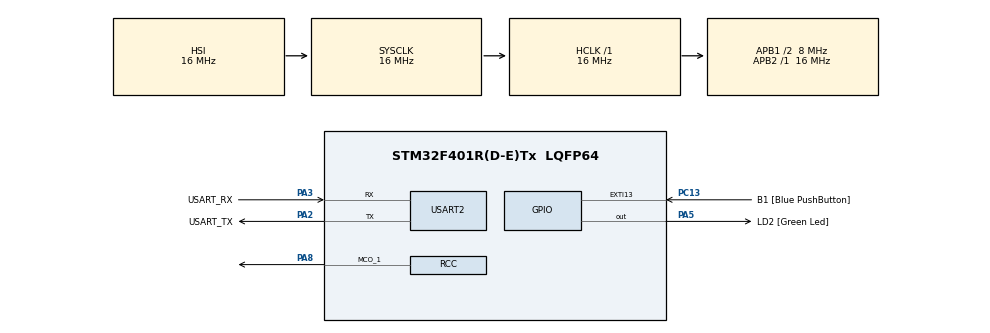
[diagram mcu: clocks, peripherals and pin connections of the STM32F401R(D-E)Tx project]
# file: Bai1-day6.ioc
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Mcu.Family=STM32F4
Mcu.Name=STM32F401R(D-E)Tx
Mcu.Package=LQFP64
NVIC.PriorityGroup=NVIC_PRIORITYGROUP_0
PA13.GPIO_Label=TMS
PA13.Mode=Serial_Wire
PA13.Signal=SYS_JTMS-SWDIO
PA14.GPIO_Label=TCK
PA14.Mode=Serial_Wire
PA14.Signal=SYS_JTCK-SWCLK
PA2.GPIO_Label=USART_TX
PA2.GPIO_Mode=GPIO_MODE_AF_PP
PA2.GPIO_PuPd=GPIO_NOPULL
PA2.GPIO_Speed=GPIO_SPEED_FREQ_LOW
PA2.Mode=Asynchronous
PA2.Signal=USART2_TX
PA3.GPIO_Label=USART_RX
PA3.GPIO_Mode=GPIO_MODE_AF_PP
PA3.GPIO_PuPd=GPIO_NOPULL
PA3.GPIO_Speed=GPIO_SPEED_FREQ_LOW
PA3.Mode=Asynchronous
PA3.Signal=USART2_RX
PA5.GPIO_Label=LD2 [Green Led]
PA5.GPIO_Mode=GPIO_MODE_OUTPUT_PP
PA5.GPIO_PuPd=GPIO_NOPULL
PA5.GPIO_Speed=GPIO_SPEED_FREQ_LOW
PA5.Signal=GPIO_Output
PA8.Mode=Clock-out-1
PA8.Signal=RCC_MCO_1
PB3.GPIO_Label=SWO
PB3.Signal=SYS_JTDO-SWO
PC13-ANTI_TAMP.GPIO_Label=B1 [Blue PushButton]
PC13-ANTI_TAMP.GPIO_ModeDefaultEXTI=GPIO_MODE_IT_FALLING
PC13-ANTI_TAMP.GPIO_PuPd=GPIO_NOPULL
PC13-ANTI_TAMP.Signal=GPXTI13
PC14-OSC32_IN.Mode=LSE-External-Oscillator
PC14-OSC32_IN.Signal=RCC_OSC32_IN
PC15-OSC32_OUT.Mode=LSE-External-Oscillator
PC15-OSC32_OUT.Signal=RCC_OSC32_OUT
PH0\ -\ OSC_IN.Mode=HSE-External-Clock-Source
PH0\ -\ OSC_IN.Signal=RCC_OSC_IN
PH1\ -\ OSC_OUT.Mode=HSE-External-Clock-Source
PH1\ -\ OSC_OUT.Signal=RCC_OSC_OUT
ProjectManager.HeapSize=0x200
ProjectManager.StackSize=0x400
ProjectManager.TargetToolchain=STM32CubeIDE
RCC.48MHZClocksFreq_Value=48000000
RCC.AHBFreq_Value=16000000
RCC.APB1CLKDivider=RCC_HCLK_DIV2
RCC.APB1Freq_Value=8000000
RCC.APB1TimFreq_Value=16000000
RCC.APB2Freq_Value=16000000
RCC.APB2TimFreq_Value=16000000
RCC.CortexFreq_Value=16000000
RCC.HCLKFreq_Value=16000000
RCC.HSE_VALUE=8000000
RCC.HSI_VALUE=16000000
RCC.PLLN=336
RCC.PLLP=RCC_PLLP_DIV4
RCC.PLLQ=7
RCC.SYSCLKFreq_VALUE=16000000
RCC.VCOOutputFreq_Value=336000000
USART2.VirtualMode=VM_ASYNC
board=NUCLEO-F401RE

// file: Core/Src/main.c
/* USER CODE BEGIN Header */
/**
  ******************************************************************************
  * @file           : main.c
  * @brief          : Main program body
  ******************************************************************************
  * @attention
  *
  * <h2><center>&copy; Copyright (c) 2025 STMicroelectronics.
  * All rights reserved.</center></h2>
  *
  * This software component is licensed by ST under BSD 3-Clause license,
  * the "License"; You may not use this file except in compliance with the
  * License. You may obtain a copy of the License at:
  *                        opensource.org/licenses/BSD-3-Clause
  *
  ******************************************************************************
  */
/* USER CODE END Header */
#include "main.h"

UART_HandleTypeDef huart2;

void SystemClock_Config(void);
static void MX_GPIO_Init(void);
static void MX_USART2_UART_Init(void);

int main(void)
{
  /* USER CODE BEGIN 1 */
#define RCC_BASE_ADDR 0x40023800UL
#define RCC_CFGR_REG_OFFSET 0x08UL
#define RCC_CFGR_REG_ADDR (RCC_BASE_ADDR + RCC_CFGR_REG_OFFSET)
#define GPIOA_BASE_ADDR 0x40020000UL
	uint32_t *pRccCfgrReg = (uint32_t*) RCC_CFGR_REG_ADDR;
	*pRccCfgrReg &= ~(0x3 << 21); // Clear 21 and 22 bit positions
	*pRccCfgrReg |= (1 << 25);
	*pRccCfgrReg |= (1 << 26);
	uint32_t *pRCCAhb1Enr = (uint32_t*)(RCC_BASE_ADDR + 0x30);
	*pRCCAhb1Enr |= ( 1 << 0); // Enable GPIOA peripheral clock
	uint32_t *pGPIOAModeReg = (uint32_t*)(GPIOA_BASE_ADDR + 00);
	*pGPIOAModeReg &= ~( 0x3 << 16); //clear
	*pGPIOAModeReg |= ( 0x2 << 16); //set
	uint32_t *pGPIOAAltFunHighReg = (uint32_t*)(GPIOA_BASE_ADDR + 0x24);
	*pGPIOAAltFunHighReg &= ~( 0x0f << 0);

  /* USER CODE END 1 */

  /* MCU Configuration--------------------------------------------------------*/

  /* Reset of all peripherals, Initializes the Flash interface and the Systick. */
  HAL_Init();

  /* Configure the system clock */
  SystemClock_Config();

  /* Initialize all configured peripherals */
  MX_GPIO_Init();
  MX_USART2_UART_Init();

  /* Infinite loop */
  while (1)
  {

  }
}

void SystemClock_Config(void)
{
  RCC_OscInitTypeDef RCC_OscInitStruct = {0};
  RCC_ClkInitTypeDef RCC_ClkInitStruct = {0};

  /** Configure the main internal regulator output voltage
  */
  __HAL_RCC_PWR_CLK_ENABLE();
  __HAL_PWR_VOLTAGESCALING_CONFIG(PWR_REGULATOR_VOLTAGE_SCALE2);
  /** Initializes the RCC Oscillators according to the specified parameters
  * in the RCC_OscInitTypeDef structure.
  */
  RCC_OscInitStruct.OscillatorType = RCC_OSCILLATORTYPE_HSI;
  RCC_OscInitStruct.HSIState = RCC_HSI_ON;
  RCC_OscInitStruct.HSICalibrationValue = RCC_HSICALIBRATION_DEFAULT;
  RCC_OscInitStruct.PLL.PLLState = RCC_PLL_NONE;
  if (HAL_RCC_OscConfig(&RCC_OscInitStruct) != HAL_OK)
  {
    Error_Handler();
  }
  /** Initializes the CPU, AHB and APB buses clocks
  */
  RCC_ClkInitStruct.ClockType = RCC_CLOCKTYPE_HCLK|RCC_CLOCKTYPE_SYSCLK
                              |RCC_CLOCKTYPE_PCLK1|RCC_CLOCKTYPE_PCLK2;
  RCC_ClkInitStruct.SYSCLKSource = RCC_SYSCLKSOURCE_HSI;
  RCC_ClkInitStruct.AHBCLKDivider = RCC_SYSCLK_DIV1;
  RCC_ClkInitStruct.APB1CLKDivider = RCC_HCLK_DIV2;
  RCC_ClkInitStruct.APB2CLKDivider = RCC_HCLK_DIV1;

  if (HAL_RCC_ClockConfig(&RCC_ClkInitStruct, FLASH_LATENCY_0) != HAL_OK)
  {
    Error_Handler();
  }
  HAL_RCC_MCOConfig(RCC_MCO1, RCC_MCO1SOURCE_HSI, RCC_MCODIV_1);
}

static void MX_USART2_UART_Init(void)
{

  huart2.Instance = USART2;
  huart2.Init.BaudRate = 115200;
  huart2.Init.WordLength = UART_WORDLENGTH_8B;
  huart2.Init.StopBits = UART_STOPBITS_1;
  huart2.Init.Parity = UART_PARITY_NONE;
  huart2.Init.Mode = UART_MODE_TX_RX;
  huart2.Init.HwFlowCtl = UART_HWCONTROL_NONE;
  huart2.Init.OverSampling = UART_OVERSAMPLING_16;
  if (HAL_UART_Init(&huart2) != HAL_OK)
  {
    Error_Handler();
  }

}

static void MX_GPIO_Init(void)
{
  GPIO_InitTypeDef GPIO_InitStruct = {0};

  /* GPIO Ports Clock Enable */
  __HAL_RCC_GPIOC_CLK_ENABLE();
  __HAL_RCC_GPIOH_CLK_ENABLE();
  __HAL_RCC_GPIOA_CLK_ENABLE();
  __HAL_RCC_GPIOB_CLK_ENABLE();

  /*Configure GPIO pin Output Level */
  HAL_GPIO_WritePin(LD2_GPIO_Port, LD2_Pin, GPIO_PIN_RESET);

  /*Configure GPIO pin : B1_Pin */
  GPIO_InitStruct.Pin = B1_Pin;
  GPIO_InitStruct.Mode = GPIO_MODE_IT_FALLING;
  GPIO_InitStruct.Pull = GPIO_NOPULL;
  HAL_GPIO_Init(B1_GPIO_Port, &GPIO_InitStruct);

  /*Configure GPIO pin : LD2_Pin */
  GPIO_InitStruct.Pin = LD2_Pin;
  GPIO_InitStruct.Mode = GPIO_MODE_OUTPUT_PP;
  GPIO_InitStruct.Pull = GPIO_NOPULL;
  GPIO_InitStruct.Speed = GPIO_SPEED_FREQ_LOW;
  HAL_GPIO_Init(LD2_GPIO_Port, &GPIO_InitStruct);

  /*Configure GPIO pin : PA8 */
  GPIO_InitStruct.Pin = GPIO_PIN_8;
  GPIO_InitStruct.Mode = GPIO_MODE_AF_PP;
  GPIO_InitStruct.Pull = GPIO_NOPULL;
  GPIO_InitStruct.Speed = GPIO_SPEED_FREQ_LOW;
  GPIO_InitStruct.Alternate = GPIO_AF0_MCO;
  HAL_GPIO_Init(GPIOA, &GPIO_InitStruct);

}

void Error_Handler(void)
{
  __disable_irq();
  while (1)
  {
  }
}

/************************ (C) COPYRIGHT STMicroelectronics *****END OF FILE****/
